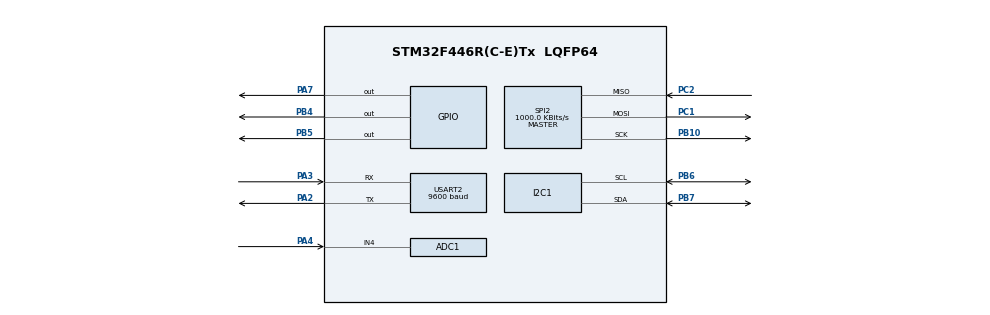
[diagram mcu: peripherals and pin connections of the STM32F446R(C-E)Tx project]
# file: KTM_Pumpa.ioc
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ADC1.Channel-0\#ChannelRegularConversion=ADC_CHANNEL_4
ADC1.NbrOfConversionFlag=1
ADC1.Rank-0\#ChannelRegularConversion=1
ADC1.SamplingTime-0\#ChannelRegularConversion=ADC_SAMPLETIME_3CYCLES
ADC1.master=1
Mcu.Family=STM32F4
Mcu.Name=STM32F446R(C-E)Tx
Mcu.Package=LQFP64
NVIC.PriorityGroup=NVIC_PRIORITYGROUP_4
PA13.Mode=Serial_Wire
PA13.Signal=SYS_JTMS-SWDIO
PA14.Mode=Serial_Wire
PA14.Signal=SYS_JTCK-SWCLK
PA2.Mode=Asynchronous
PA2.Signal=USART2_TX
PA3.Mode=Asynchronous
PA3.Signal=USART2_RX
PA4.Signal=ADCx_IN4
PA7.Signal=GPIO_Output
PB10.Mode=Full_Duplex_Master
PB10.Signal=SPI2_SCK
PB4.Signal=GPIO_Output
PB5.Signal=GPIO_Output
PB6.Mode=I2C
PB6.Signal=I2C1_SCL
PB7.Mode=I2C
PB7.Signal=I2C1_SDA
PC1.Mode=Full_Duplex_Master
PC1.Signal=SPI2_MOSI
PC2.Mode=Full_Duplex_Master
PC2.Signal=SPI2_MISO
ProjectManager.HeapSize=0x200
ProjectManager.StackSize=0x400
ProjectManager.TargetToolchain=STM32CubeIDE
RCC.CortexFreq_Value=16000000
RCC.USBFreq_Value=96000000
RCC.VCOOutputFreq_Value=192000000
SH.ADCx_IN4.0=ADC1_IN4,IN4
SPI2.BaudRatePrescaler=SPI_BAUDRATEPRESCALER_16
SPI2.CalculateBaudRate=1000.0 KBits/s
SPI2.DataSize=SPI_DATASIZE_16BIT
SPI2.Direction=SPI_DIRECTION_2LINES
SPI2.Mode=SPI_MODE_MASTER
SPI2.VirtualType=VM_MASTER
USART2.BaudRate=9600
USART2.VirtualMode=VM_ASYNC
VP_TIM6_VS_ClockSourceINT.Mode=Enable_Timer
board=custom

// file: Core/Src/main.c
/* USER CODE BEGIN Header */
/**
  ******************************************************************************
  * @file           : main.c
  * @brief          : Main program body
  ******************************************************************************
  * @attention
  *
  * Copyright (c) 2025 STMicroelectronics.
  * All rights reserved.
  *
  * This software is licensed under terms that can be found in the LICENSE file
  * in the root directory of this software component.
  * If no LICENSE file comes with this software, it is provided AS-IS.
  *
  ******************************************************************************
  */
/* USER CODE END Header */
#include "main.h"
#include "adc.h"
#include "i2c.h"
#include "spi.h"
#include "tim.h"
#include "usart.h"
#include "gpio.h"

/* USER CODE BEGIN Includes */

#include <stdio.h>
#include <math.h>
#include <htu21d.h>
#ifdef __GNUC__
#define PUTCHAR_PROTOTYPE int __io_putchar(int ch)
#define GETCHAR_PROTOTYPE int __io_getchar(void)
#else
#define PUTCHAR_PROTOTYPE int fputc(int ch, FILE *f)
#define GETCHAR_PROTOTYPE int fgetc(FILE *f)
#endif
PUTCHAR_PROTOTYPE {
HAL_UART_Transmit(&huart2, (uint8_t*) &ch, 1, HAL_MAX_DELAY);
return ch;
}
GETCHAR_PROTOTYPE {
uint8_t ch = 0;
__HAL_UART_CLEAR_OREFLAG(&huart2);
HAL_UART_Receive(&huart2, (uint8_t*) &ch, 1, HAL_MAX_DELAY);
HAL_UART_Transmit(&huart2, (uint8_t*) &ch, 1, HAL_MAX_DELAY);
return ch;
}
/* USER CODE END Includes */

/* USER CODE BEGIN PV */
uint8_t HTU21D_RX_Data[3];
float HTU21D_Temperature;
float HTU21D_Humidity;
uint16_t HTU21D_ADC_Raw;
uint8_t HTU21D_Temp_Cmd = 0xE3;
uint8_t HTU21D_Humi_Cmd = 0xE5;
#define HTU21D_Adress (0x40 << 1)

#define HTU21D_POLY 0x13100

/* USER CODE END PV */

void SystemClock_Config(void);

/* USER CODE BEGIN 0 */
//LSB------------------MSB
/*
uint8_t TxAddress[] = {0xEE,0xDD,0xCC,0xBB,0xAA}; //definiranje adrese Tx i Rx
uint8_t TxData[] = "Hello World";
uint8_t RxAddress[] = {0xEE,0xDD,0xCC,0xBB,0xAA};  //mora biti isto kao TxAddress
uint8_t RxData[16];*/

/* CRC Check */
uint8_t HTU21D_CRC8(uint16_t HTU21D_ADC, uint8_t *HTU21D_CRC)

{

/* If ADC/CRC == 0 -> Sensor does not connected */
if(HTU21D_ADC == 0 | *HTU21D_CRC == 0)
	return 0;

for (uint8_t i = 0; i < 16; i++)
{
	HTU21D_ADC = ((HTU21D_ADC & 0x8000) ? ((HTU21D_ADC << 1) ^ HTU21D_POLY) : (HTU21D_ADC <<= 1));
}
HTU21D_ADC >>= 8;

if((uint8_t)HTU21D_ADC == *HTU21D_CRC)
	return 255; /* if OK */
else
	return 0; /* if no OK */
}
/* USER CODE END 0 */

int main(void)
{

  /* USER CODE BEGIN 1 */
	setvbuf(stdin, NULL, _IONBF, 0);
  /* USER CODE END 1 */

  /* MCU Configuration--------------------------------------------------------*/

  /* Reset of all peripherals, Initializes the Flash interface and the Systick. */
  HAL_Init();

  /* Configure the system clock */
  SystemClock_Config();

  /* Initialize all configured peripherals */
  MX_GPIO_Init();
  MX_ADC1_Init();
  MX_I2C1_Init();
  MX_SPI2_Init();
  MX_TIM6_Init();
  MX_USART2_UART_Init();
  /* USER CODE BEGIN 2 */
 /* NRF_Init();

  NRF_TXMode(TxAddress, 10); //ovo mora bit ili jedno ili drugo, npr. ako zelis slat ukljucis Tx a ako zelis primat ukljucis Rx
   NRF_RXMode(RxAddress, 10); //ove adrese i broj kanala mogu ostat isti, jednio sta se mijenja je data koji saljes kasnije u programu
*/
  uint16_t pritisak=0;
  uint8_t relej=0, temp=0;
  float raw;
  /* USER CODE END 2 */

  /* Infinite loop */
  /* USER CODE BEGIN WHILE */
  while (1)
  {

	  HAL_I2C_Mem_Read_IT(&hi2c1, HTU21D_Adress, HTU21D_Temp_Cmd, I2C_MEMADD_SIZE_8BIT, HTU21D_RX_Data, 3);
	  	HTU21D_ADC_Raw = ((uint16_t)(HTU21D_RX_Data[0] << 8) | (HTU21D_RX_Data[1]));
	  	HTU21D_Temperature = (float)(HTU21D_ADC_Raw  / 65536.00)* 175.72 - 46.85;
	  	HAL_Delay(100);

	  HAL_GPIO_WritePin(GPIOA, GPIO_PIN_7, relej);

	  HAL_ADC_Start(&hadc1);
	  HAL_ADC_PollForConversion(&hadc1, HAL_MAX_DELAY);
	  pritisak = HAL_ADC_GetValue(&hadc1);

 /* //probaj s jednog mikroupravljača slat a na drugom primat podatke da vidis jel radi prijenos samo jednog podatka prije svega
	  	  //slanje podatka
	  	  if(NRF_Transmit(pritisak)==1)
	  	  {
	  		  HAL_GPIO_TogglePin(GPIOA, GPIO_PIN_5); //provjera ispravnosti blinkanjem PA5 ledice
	  	  }

	  	  //primanje podatka
	  	  if(isDataAvailable(1)==1) //provjera je li data pipe slobodan
	  	  {
	  		  NRF_Receive(relej);
	  	  }*/

	  	  		  printf("Relej: %d\r\n", relej);
	  	  		  printf("P: %d\r\n", pritisak);
	  	  		  printf("R: %d\r\n", raw);
	  	  		  printf("T: %d\r\n", HTU21D_Temperature);
    /* USER CODE END WHILE */

  }
}

void SystemClock_Config(void)
{
  RCC_OscInitTypeDef RCC_OscInitStruct = {0};
  RCC_ClkInitTypeDef RCC_ClkInitStruct = {0};

  /** Configure the main internal regulator output voltage
  */
  __HAL_RCC_PWR_CLK_ENABLE();
  __HAL_PWR_VOLTAGESCALING_CONFIG(PWR_REGULATOR_VOLTAGE_SCALE3);

  /** Initializes the RCC Oscillators according to the specified parameters
  * in the RCC_OscInitTypeDef structure.
  */
  RCC_OscInitStruct.OscillatorType = RCC_OSCILLATORTYPE_HSI;
  RCC_OscInitStruct.HSIState = RCC_HSI_ON;
  RCC_OscInitStruct.HSICalibrationValue = RCC_HSICALIBRATION_DEFAULT;
  RCC_OscInitStruct.PLL.PLLState = RCC_PLL_NONE;
  if (HAL_RCC_OscConfig(&RCC_OscInitStruct) != HAL_OK)
  {
    Error_Handler();
  }

  /** Initializes the CPU, AHB and APB buses clocks
  */
  RCC_ClkInitStruct.ClockType = RCC_CLOCKTYPE_HCLK|RCC_CLOCKTYPE_SYSCLK
                              |RCC_CLOCKTYPE_PCLK1|RCC_CLOCKTYPE_PCLK2;
  RCC_ClkInitStruct.SYSCLKSource = RCC_SYSCLKSOURCE_HSI;
  RCC_ClkInitStruct.AHBCLKDivider = RCC_SYSCLK_DIV1;
  RCC_ClkInitStruct.APB1CLKDivider = RCC_HCLK_DIV1;
  RCC_ClkInitStruct.APB2CLKDivider = RCC_HCLK_DIV1;

  if (HAL_RCC_ClockConfig(&RCC_ClkInitStruct, FLASH_LATENCY_0) != HAL_OK)
  {
    Error_Handler();
  }
}

void Error_Handler(void)
{
  __disable_irq();
  while (1)
  {
  }
}
